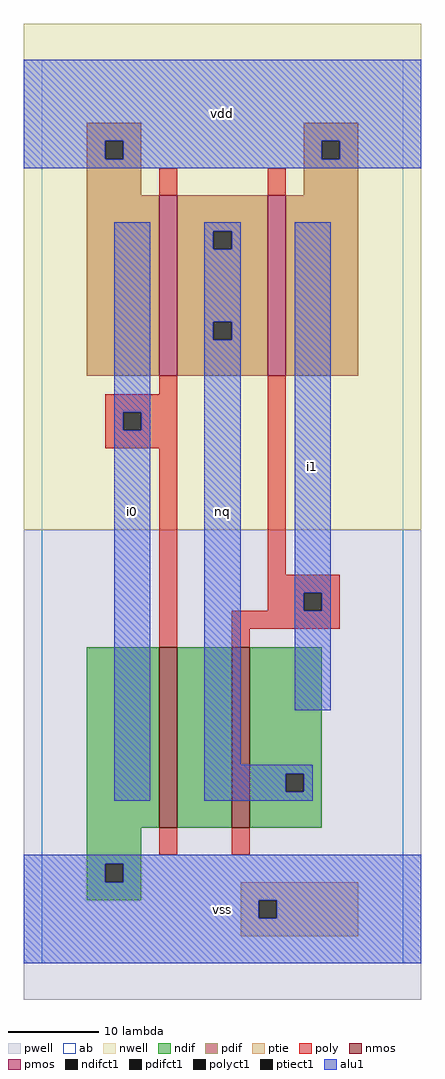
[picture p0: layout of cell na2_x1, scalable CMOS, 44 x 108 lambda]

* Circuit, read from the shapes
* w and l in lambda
.subckt na2_x1 i0 i1 nq vdd vss
M1 n1 i0 vss vss nfet w=20 l=2
M2 nq i1 n1 vss nfet w=20 l=2
M3 nq i0 vdd n2 pfet w=20 l=2
M4 vdd i1 nq n2 pfet w=20 l=2
.ends

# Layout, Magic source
magic
tech scmos
<< ab >>
rect 0 0 40 100
<< nwell >>
rect -2 48 42 104
<< pwell >>
rect -2 -4 42 48
<< poly >>
rect 13 85 15 88
rect 25 85 27 88
rect 13 63 15 65
rect 7 61 15 63
rect 7 59 9 61
rect 11 59 15 61
rect 7 57 15 59
rect 13 35 15 57
rect 25 43 27 65
rect 25 41 33 43
rect 25 39 29 41
rect 31 39 33 41
rect 21 37 33 39
rect 21 35 23 37
rect 13 12 15 15
rect 21 12 23 15
<< ndif >>
rect 5 15 13 35
rect 15 15 21 35
rect 23 21 31 35
rect 23 19 27 21
rect 29 19 31 21
rect 23 15 31 19
rect 5 11 11 15
rect 5 9 7 11
rect 9 9 11 11
rect 5 7 11 9
<< pdif >>
rect 5 91 11 93
rect 5 89 7 91
rect 9 89 11 91
rect 5 85 11 89
rect 29 91 35 93
rect 29 89 31 91
rect 33 89 35 91
rect 29 85 35 89
rect 5 65 13 85
rect 15 81 25 85
rect 15 79 19 81
rect 21 79 25 81
rect 15 71 25 79
rect 15 69 19 71
rect 21 69 25 71
rect 15 65 25 69
rect 27 65 35 85
<< alu1 >>
rect -2 91 42 100
rect -2 89 7 91
rect 9 89 31 91
rect 33 89 42 91
rect -2 88 42 89
rect 8 61 12 82
rect 8 59 9 61
rect 11 59 12 61
rect 8 18 12 59
rect 18 81 22 82
rect 18 79 19 81
rect 21 79 22 81
rect 18 71 22 79
rect 18 69 19 71
rect 21 69 22 71
rect 18 22 22 69
rect 28 41 32 82
rect 28 39 29 41
rect 31 39 32 41
rect 28 28 32 39
rect 18 21 30 22
rect 18 19 27 21
rect 29 19 30 21
rect 18 18 30 19
rect -2 11 42 12
rect -2 9 7 11
rect 9 9 42 11
rect -2 7 42 9
rect -2 5 24 7
rect 26 5 42 7
rect -2 0 42 5
<< ptie >>
rect 22 7 35 9
rect 22 5 24 7
rect 26 5 35 7
rect 22 3 35 5
<< nmos >>
rect 13 15 15 35
rect 21 15 23 35
<< pmos >>
rect 13 65 15 85
rect 25 65 27 85
<< polyct1 >>
rect 9 59 11 61
rect 29 39 31 41
<< ndifct1 >>
rect 27 19 29 21
rect 7 9 9 11
<< ptiect1 >>
rect 24 5 26 7
<< pdifct1 >>
rect 7 89 9 91
rect 31 89 33 91
rect 19 79 21 81
rect 19 69 21 71
<< labels >>
rlabel alu1 10 50 10 50 6 i0
rlabel alu1 20 6 20 6 6 vss
rlabel alu1 20 50 20 50 6 nq
rlabel alu1 20 94 20 94 6 vdd
rlabel alu1 30 55 30 55 6 i1
<< end >>
